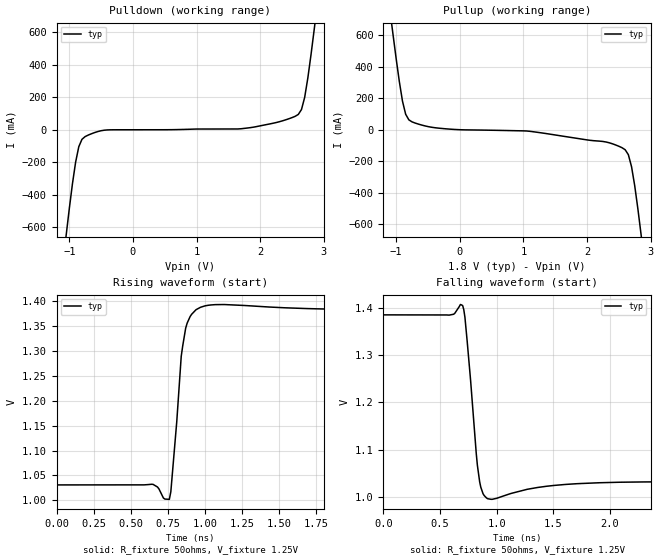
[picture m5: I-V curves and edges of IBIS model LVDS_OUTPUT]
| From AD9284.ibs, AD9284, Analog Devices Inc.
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|   LVDS_OUTPUT MODEL   |
[MODEL] LVDS_OUTPUT   | LVDS OUTPUT MODE  | SIMULATION DATA
Model_type  Output
C_comp   2.000pF   NA   NA
Rref  =   50Ohm
Vref  =   1.25V
Vmeas =   1.25V
| VARIABLE   TYP   MIN   MAX
[Voltage Range]   1.800V   NA   NA
[GND Clamp Reference]   0.000V   NA   NA
[POWER Clamp Reference]   1.800V   NA   NA
[PULLDOWN Reference]   0.000V   NA   NA
[PULLUP Reference]   1.800V   NA   NA
[Temperature Range]   25   NA   NA
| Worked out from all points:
|   slope of the pulldown table from 0 to 0.27 V, typ, clamps not added: 5.74 kohm
|   slope of the pullup table from 0 to 0.27 V, typ, clamps not added: 138 ohm
|   rising waveform, R_fixture 50ohms, V_fixture 1.25V: 20-80 % time 57.7ps typ, NA min, NA max; typ from 1.03 V to 1.38 V
|   falling waveform, R_fixture 50ohms, V_fixture 1.25V: 20-80 % time 71.3ps typ, NA min, NA max; typ from 1.39 V to 1.03 V
[Pulldown]
| Voltage   I(typ)   I(min)  I(max)
-1.8V     -3.363A    NA         NA
-1.05V    -654.4mA   NA         NA
-900mV    -199.7mA   NA         NA
-850mV    -104.4mA   NA         NA
-750mV    -42.08mA   NA         NA
-400mV    -1.131mA   NA         NA
1.7V      6.097mA    NA         NA
2.5V      74.48mA    NA         NA
2.65V     124.3mA    NA         NA
2.7V      198.9mA    NA         NA
2.85V     617.3mA    NA         NA
3.6V      3.016A     NA         NA
[Pullup]
| Voltage   I(typ)   I(min)  I(max)
-1.8V     3.003A     NA         NA
-1.1V     767.5mA    NA         NA
-1.05V    609.1mA    NA         NA
-900mV    181.6mA    NA         NA
-850mV    98.39mA    NA         NA
-750mV    50.04mA    NA         NA
1.1V      -9.922mA   NA         NA
2.45V     -96.81mA   NA         NA
2.65V     -158.6mA   NA         NA
2.75V     -356mA     NA         NA
2.85V     -666.7mA   NA         NA
3.6V      -3.371A    NA         NA
[Rising Waveform]
R_fixture = 50ohms
V_fixture = 1.25V
| Time   V(typ)   V(min)  V(max)
0s        1.031V     NA         NA
650ps     1.032V     NA         NA
760ps     1.002V     NA         NA
770ps     1.017V     NA         NA
810ps     1.159V     NA         NA
840ps     1.29V      NA         NA
870ps     1.346V     NA         NA
910ps     1.374V     NA         NA
1ns       1.391V     NA         NA
5ns       1.384V     NA         NA
[Falling Waveform]
R_fixture = 50ohms
V_fixture = 1.25V
| Time   V(typ)   V(min)  V(max)
0s        1.385V     NA         NA
580ps     1.384V     NA         NA
700ps     1.404V     NA         NA
720ps     1.38V      NA         NA
740ps     1.329V     NA         NA
830ps     1.067V     NA         NA
860ps     1.021V     NA         NA
920ps     996.9mV    NA         NA
1.85ns    1.03V      NA         NA
5ns       1.031V     NA         NA
[Ramp]
|   TYP   MIN   MAX
dV/dt_r   0.2493V/70ps   NA   NA
dV/dt_f   0.2488V/85ps   NA   NA
R_load =   50
|   END LVDS_OUTPUT MODEL   |
